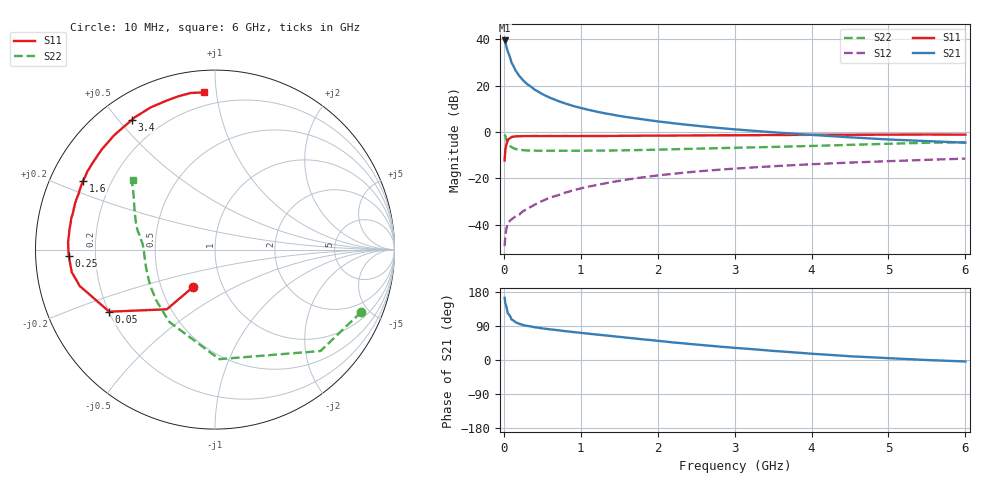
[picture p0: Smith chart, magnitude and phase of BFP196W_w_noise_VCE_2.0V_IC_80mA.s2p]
! Infineon Technologies  Discrete & RF Semiconductors
! BFP196W
! VCE =  2.0 V,  IC =  80 mA
! Common Emitter S-Parameters:  Jan 2017
# GHz  S  MA  R  50
!  f  S11  S21  S12  S22
! GHz  MAG  ANG  MAG  ANG  MAG  ANG  MAG  ANG
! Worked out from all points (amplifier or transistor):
!   77 points, 10 MHz to 6 GHz, reference 50 ohm
!   highest |S21| = 39.4 dB at 10 MHz (marker M1)
!   |S21| within 3 dB of that: start of sweep to 36.49 MHz
!   unconditionally stable (mu >= 1): 475.8 MHz to 3.405 GHz
!   at 130 MHz: K = 0.59, MSG = 32.4 dB, |S12| = -36.8 dB
!   at 2.2 GHz: K = 1.04, MAG = 9.7 dB, |S12| = -18.0 dB
!   at 6 GHz: K = 0.98, MSG = 3.4 dB, |S12| = -11.4 dB
!   lowest NFmin = 1.68 dB at 450 MHz
!   S11 on the Smith chart (normalised r, x): 10 MHz: 0.72, -0.32; 50 MHz: 0.20, -0.26; 250 MHz: 0.10, -0.02; 1.6 GHz: 0.10, +0.24; 3.4 GHz: 0.10, +0.54; 6 GHz: 0.12, +0.92
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0.01  0.2443 -120.6  93.2 164.2  0.0035 75.7  0.886 -23.1
0.02  0.4276 -128.9  83.77 149.5  0.0061 71.6  0.8152 -43.9
0.05  0.6833 -149.6  54.54 123.4  0.0111 46.0  0.6109 -87.7
0.1  0.7802 -164.9  31.15 106.9  0.0132 44.9  0.4764 -122.5
0.15  0.8077 -171.0  21.39 99.9  0.0152 47.0  0.4323 -139.5
0.2  0.8114 -174.9  16.16 95.5  0.0167 51.0  0.4153 -148.8
0.25  0.8157 -177.6  12.98 92.4  0.0199 54.8  0.4066 -155.1
0.3  0.817 -179.7  10.84 90.2  0.0218 57.9  0.4011 -159.3
0.4  0.8197 177.0  8.173 86.4  0.0273 62.2  0.397 -164.9
0.5  0.8178 174.4  6.538 83.5  0.0329 64.5  0.3951 -168.6
0.6  0.819 172.0  5.464 80.9  0.0388 65.3  0.3952 -171.3
0.7  0.8177 169.9  4.682 78.7  0.0434 66.5  0.3941 -173.4
0.9  0.8171 165.7  3.64 73.8  0.0554 67.0  0.3955 -176.4
1.1  0.821 161.7  3.002 69.5  0.0669 66.4  0.3969 -178.9
1.3  0.8207 158.0  2.548 65.3  0.0776 65.0  0.3986 178.9
1.6  0.8296 152.5  2.093 58.9  0.0948 63.0  0.4044 175.7
2.1  0.8362 143.3  1.619 48.6  0.1212 58.3  0.4214 170.9
3.1  0.8516 127.1  1.108 30.6  0.1672 48.1  0.4621 162.0
3.4  0.8585 122.7  1.015 25.8  0.1794 45.3  0.4736 159.2
4.1  0.8695 113.1  0.847 15.3  0.2059 38.9  0.5066 152.5
5.1  0.8789 102.4  0.679 3.9  0.2389 30.5  0.5642 144.0
6  0.8781 94.1  0.59 -4.1  0.2677 23.3  0.5999 139.6
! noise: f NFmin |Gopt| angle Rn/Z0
0.45  1.68  0.56  -175  0.06
0.9  1.8  0.59  -169  0.08
1.9  2.67  0.7  -148  0.2
2.4  3.09  0.74  -143  0.32
